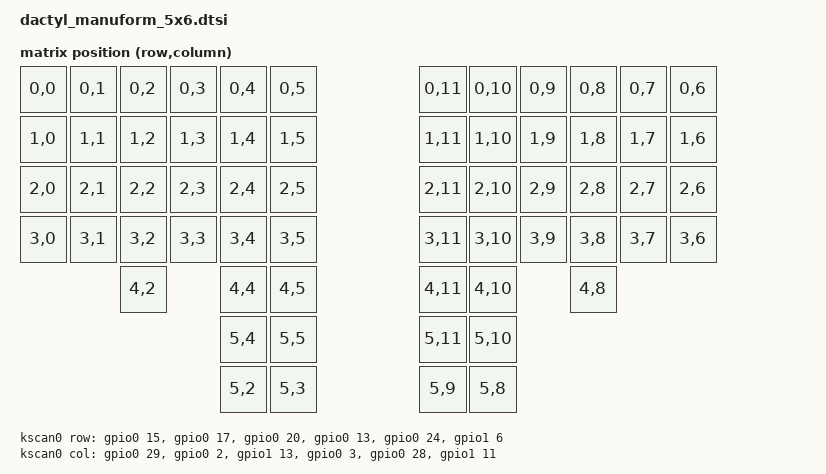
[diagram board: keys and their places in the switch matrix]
#include <dt-bindings/zmk/matrix_transform.h>
#include <physical_layouts.dtsi>

/ {
    chosen {
        zmk,battery = &vbatt;
        zmk,kscan = &kscan0;
        zmk,physical-layout = &default_layout;
    };

    vbatt: vbatt {
        compatible = "zmk,battery-nrf-vddh";
    };

    default_transform: keymap_transform_0 {
        compatible = "zmk,matrix-transform";
        columns = <12>;
        rows = <6>;
// | SW1  | SW2  | SW3  | SW4  | SW5  | SW6  |                 | SW6  | SW5  | SW4  | SW3  | SW2  | SW1 |
// | SW7  | SW8  | SW9  | SW10 | SW11 | SW12 |                 | SW12 | SW11 | SW10 | SW9  | SW8  | SW7 |
// | SW13 | SW14 | SW15 | SW16 | SW17 | SW18 |                 | SW18 | SW17 | SW16 | SW15 | SW14 | SW13 |
// | SW19 | SW20 | SW21 | SW22 | SW23 | SW24 |                 | SW24 | SW23 | SW22 | SW21 | SW20 | SW19 |
//                | SW25 |      | SW27 | SW28 |                 | SW28 | SW27 |      | SW25 |
// 
//                               | SW29 | SW30 |                 | SW30 | SW29 |
//                               | SW31 | SW32 |                 | SW32 | SW31 |
        map = <
RC(0,0) RC(0,1) RC(0,2) RC(0,3) RC(0,4) RC(0,5)                     RC(0,11) RC(0,10) RC(0,9) RC(0,8) RC(0,7) RC(0,6)
RC(1,0) RC(1,1) RC(1,2) RC(1,3) RC(1,4) RC(1,5)                     RC(1,11) RC(1,10) RC(1,9) RC(1,8) RC(1,7) RC(1,6)
RC(2,0) RC(2,1) RC(2,2) RC(2,3) RC(2,4) RC(2,5)                     RC(2,11) RC(2,10) RC(2,9) RC(2,8) RC(2,7) RC(2,6)
RC(3,0) RC(3,1) RC(3,2) RC(3,3) RC(3,4) RC(3,5)                     RC(3,11) RC(3,10) RC(3,9) RC(3,8) RC(3,7) RC(3,6)
                RC(4,2)         RC(4,4) RC(4,5)                     RC(4,11) RC(4,10)          RC(4,8)

                                RC(5,4) RC(5,5)                     RC(5,11) RC(5,10)
                                RC(5,2) RC(5,3)                     RC(5,9)  RC(5,8)
        >;
    };

    layouts {
        compatible = "zmk,physical-layouts";
        
        default_layout: default_layout {
            compatible = "zmk,physical-layout";
            display-name = "Dactyl Manuform 5x6";
            transform = <&default_transform>;
            kscan = <&kscan0>;
            keys
                /* Ряд 0 (Y=0) */
                = <&key_physical_attrs 100 100    0   0 0 0 0> , <&key_physical_attrs 100 100  100   0 0 0 0> , <&key_physical_attrs 100 100  200   0 0 0 0> , <&key_physical_attrs 100 100  300   0 0 0 0> , <&key_physical_attrs 100 100  400   0 0 0 0> , <&key_physical_attrs 100 100  500   0 0 0 0> 
                , <&key_physical_attrs 100 100  800   0 0 0 0> , <&key_physical_attrs 100 100  900   0 0 0 0> , <&key_physical_attrs 100 100 1000   0 0 0 0> , <&key_physical_attrs 100 100 1100   0 0 0 0> , <&key_physical_attrs 100 100 1200   0 0 0 0> , <&key_physical_attrs 100 100 1300   0 0 0 0>
                
                /* Ряд 1 (Y=100) */
                , <&key_physical_attrs 100 100    0 100 0 0 0> , <&key_physical_attrs 100 100  100 100 0 0 0> , <&key_physical_attrs 100 100  200 100 0 0 0> , <&key_physical_attrs 100 100  300 100 0 0 0> , <&key_physical_attrs 100 100  400 100 0 0 0> , <&key_physical_attrs 100 100  500 100 0 0 0> 
                , <&key_physical_attrs 100 100  800 100 0 0 0> , <&key_physical_attrs 100 100  900 100 0 0 0> , <&key_physical_attrs 100 100 1000 100 0 0 0> , <&key_physical_attrs 100 100 1100 100 0 0 0> , <&key_physical_attrs 100 100 1200 100 0 0 0> , <&key_physical_attrs 100 100 1300 100 0 0 0>
                
                /* Ряд 2 (Y=200) */
                , <&key_physical_attrs 100 100    0 200 0 0 0> , <&key_physical_attrs 100 100  100 200 0 0 0> , <&key_physical_attrs 100 100  200 200 0 0 0> , <&key_physical_attrs 100 100  300 200 0 0 0> , <&key_physical_attrs 100 100  400 200 0 0 0> , <&key_physical_attrs 100 100  500 200 0 0 0> 
                , <&key_physical_attrs 100 100  800 200 0 0 0> , <&key_physical_attrs 100 100  900 200 0 0 0> , <&key_physical_attrs 100 100 1000 200 0 0 0> , <&key_physical_attrs 100 100 1100 200 0 0 0> , <&key_physical_attrs 100 100 1200 200 0 0 0> , <&key_physical_attrs 100 100 1300 200 0 0 0>
                
                /* Ряд 3 (Y=300) */
                , <&key_physical_attrs 100 100    0 300 0 0 0> , <&key_physical_attrs 100 100  100 300 0 0 0> , <&key_physical_attrs 100 100  200 300 0 0 0> , <&key_physical_attrs 100 100  300 300 0 0 0> , <&key_physical_attrs 100 100  400 300 0 0 0> , <&key_physical_attrs 100 100  500 300 0 0 0> 
                , <&key_physical_attrs 100 100  800 300 0 0 0> , <&key_physical_attrs 100 100  900 300 0 0 0> , <&key_physical_attrs 100 100 1000 300 0 0 0> , <&key_physical_attrs 100 100 1100 300 0 0 0> , <&key_physical_attrs 100 100 1200 300 0 0 0> , <&key_physical_attrs 100 100 1300 300 0 0 0>
                
                /* Ряд 4 матрицы (Y=400) */
                , <&key_physical_attrs 100 100  200 400 0 0 0> , <&key_physical_attrs 100 100  400 400 0 0 0> , <&key_physical_attrs 100 100  500 400 0 0 0> 
                , <&key_physical_attrs 100 100  800 400 0 0 0> , <&key_physical_attrs 100 100  900 400 0 0 0> , <&key_physical_attrs 100 100 1100 400 0 0 0>
                
                /* Ряд 5 матрицы, линия 1 (Y=500) */
                , <&key_physical_attrs 100 100  400 500 0 0 0> , <&key_physical_attrs 100 100  500 500 0 0 0> 
                , <&key_physical_attrs 100 100  800 500 0 0 0> , <&key_physical_attrs 100 100  900 500 0 0 0>
                
                /* Ряд 5 матрицы, линия 2 (Y=600) */
                , <&key_physical_attrs 100 100  400 600 0 0 0> , <&key_physical_attrs 100 100  500 600 0 0 0> 
                , <&key_physical_attrs 100 100  800 600 0 0 0> , <&key_physical_attrs 100 100  900 600 0 0 0>
                ;
        };
    };

    kscan0: kscan {
        compatible = "zmk,kscan-gpio-matrix";
        label = "KSCAN";
        diode-direction = "col2row";

        row-gpios
            = <&gpio0 15 (GPIO_ACTIVE_HIGH | GPIO_PULL_DOWN)> // R0 -> P0.15 (D2)
            , <&gpio0 17 (GPIO_ACTIVE_HIGH | GPIO_PULL_DOWN)> // R1 -> P0.17 (D3)
            , <&gpio0 20 (GPIO_ACTIVE_HIGH | GPIO_PULL_DOWN)> // R2 -> P0.20 (D4)
            , <&gpio0 13 (GPIO_ACTIVE_HIGH | GPIO_PULL_DOWN)> // R3 -> P0.13 (D5)
            , <&gpio0 24 (GPIO_ACTIVE_HIGH | GPIO_PULL_DOWN)> // R4 -> P0.24 (D6)
            , <&gpio1  6 (GPIO_ACTIVE_HIGH | GPIO_PULL_DOWN)> // R5 -> P1.06 (D9)
            ;

        col-gpios
            = <&gpio0 29 GPIO_ACTIVE_HIGH> // C0 -> P0.29 (D15)
            , <&gpio0  2 GPIO_ACTIVE_HIGH> // C1 -> P0.02 (D14)
            , <&gpio1 13 GPIO_ACTIVE_HIGH> // C2 -> P1.13 (D13)
            , <&gpio0  3 GPIO_ACTIVE_HIGH> // C3 -> P0.03 (D12)
            , <&gpio0 28 GPIO_ACTIVE_HIGH> // C4 -> P0.28 (D11)
            , <&gpio1 11 GPIO_ACTIVE_HIGH> // C5 -> P1.11 (D10)
            ;
    };
};
